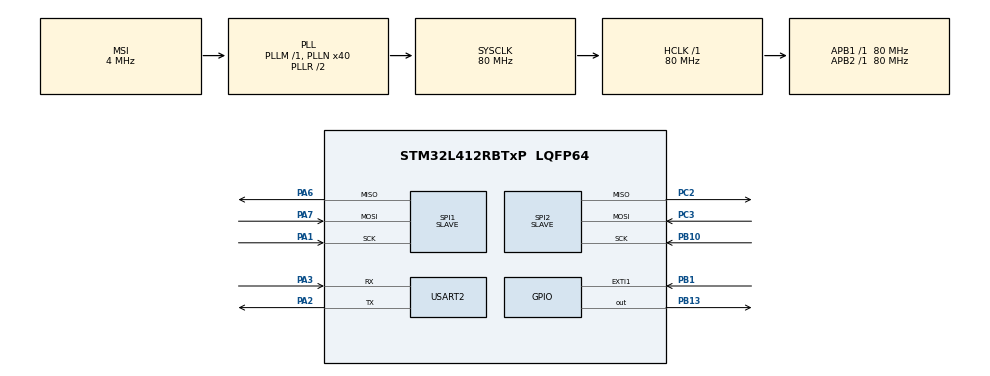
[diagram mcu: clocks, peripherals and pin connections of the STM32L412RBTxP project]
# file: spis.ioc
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Dma.Request0=SPI1_RX
Dma.Request1=SPI1_TX
Dma.Request2=SPI2_RX
Dma.Request3=SPI2_TX
Dma.SPI1_RX.0.Direction=DMA_PERIPH_TO_MEMORY
Dma.SPI1_RX.0.Instance=DMA1_Channel2
Dma.SPI1_RX.0.MemDataAlignment=DMA_MDATAALIGN_BYTE
Dma.SPI1_RX.0.MemInc=DMA_MINC_ENABLE
Dma.SPI1_RX.0.Mode=DMA_NORMAL
Dma.SPI1_RX.0.PeriphDataAlignment=DMA_PDATAALIGN_BYTE
Dma.SPI1_RX.0.PeriphInc=DMA_PINC_DISABLE
Dma.SPI1_RX.0.Priority=DMA_PRIORITY_LOW
Dma.SPI1_TX.1.Direction=DMA_MEMORY_TO_PERIPH
Dma.SPI1_TX.1.Instance=DMA1_Channel3
Dma.SPI1_TX.1.MemDataAlignment=DMA_MDATAALIGN_BYTE
Dma.SPI1_TX.1.MemInc=DMA_MINC_ENABLE
Dma.SPI1_TX.1.Mode=DMA_NORMAL
Dma.SPI1_TX.1.PeriphDataAlignment=DMA_PDATAALIGN_BYTE
Dma.SPI1_TX.1.PeriphInc=DMA_PINC_DISABLE
Dma.SPI1_TX.1.Priority=DMA_PRIORITY_LOW
Dma.SPI2_RX.2.Direction=DMA_PERIPH_TO_MEMORY
Dma.SPI2_RX.2.Instance=DMA1_Channel4
Dma.SPI2_RX.2.MemDataAlignment=DMA_MDATAALIGN_BYTE
Dma.SPI2_RX.2.MemInc=DMA_MINC_ENABLE
Dma.SPI2_RX.2.Mode=DMA_NORMAL
Dma.SPI2_RX.2.PeriphDataAlignment=DMA_PDATAALIGN_BYTE
Dma.SPI2_RX.2.PeriphInc=DMA_PINC_DISABLE
Dma.SPI2_RX.2.Priority=DMA_PRIORITY_LOW
Dma.SPI2_TX.3.Direction=DMA_MEMORY_TO_PERIPH
Dma.SPI2_TX.3.Instance=DMA1_Channel5
Dma.SPI2_TX.3.MemDataAlignment=DMA_MDATAALIGN_BYTE
Dma.SPI2_TX.3.MemInc=DMA_MINC_ENABLE
Dma.SPI2_TX.3.Mode=DMA_NORMAL
Dma.SPI2_TX.3.PeriphDataAlignment=DMA_PDATAALIGN_BYTE
Dma.SPI2_TX.3.PeriphInc=DMA_PINC_DISABLE
Dma.SPI2_TX.3.Priority=DMA_PRIORITY_LOW
Mcu.Family=STM32L4
Mcu.Name=STM32L412RBTxP
Mcu.Package=LQFP64
NVIC.DMA1_Channel2_IRQn=true\:0\:0\:false\:false\:true\:false\:true
NVIC.DMA1_Channel3_IRQn=true\:0\:0\:false\:false\:true\:false\:true
NVIC.DMA1_Channel4_IRQn=true\:0\:0\:false\:false\:true\:false\:true
NVIC.DMA1_Channel5_IRQn=true\:0\:0\:false\:false\:true\:false\:true
NVIC.EXTI1_IRQn=true\:0\:0\:false\:false\:true\:true\:true
NVIC.PriorityGroup=NVIC_PRIORITYGROUP_4
NVIC.SPI1_IRQn=true\:0\:0\:false\:false\:true\:true\:true
NVIC.SPI2_IRQn=true\:0\:0\:false\:false\:true\:true\:true
PA1.Mode=Full_Duplex_Slave
PA1.Signal=SPI1_SCK
PA2.Mode=Asynchronous
PA2.Signal=USART2_TX
PA3.Mode=Asynchronous
PA3.Signal=USART2_RX
PA6.Mode=Full_Duplex_Slave
PA6.Signal=SPI1_MISO
PA7.Mode=Full_Duplex_Slave
PA7.Signal=SPI1_MOSI
PB1.GPIO_ModeDefaultEXTI=GPIO_MODE_IT_FALLING
PB1.Signal=GPXTI1
PB10.Mode=Full_Duplex_Slave
PB10.Signal=SPI2_SCK
PB13.Signal=GPIO_Output
PC14-OSC32_IN\ (PC14).Mode=LSE-External-Oscillator
PC14-OSC32_IN\ (PC14).Signal=RCC_OSC32_IN
PC15-OSC32_OUT\ (PC15).Mode=LSE-External-Oscillator
PC15-OSC32_OUT\ (PC15).Signal=RCC_OSC32_OUT
PC2.Mode=Full_Duplex_Slave
PC2.Signal=SPI2_MISO
PC3.Mode=Full_Duplex_Slave
PC3.Signal=SPI2_MOSI
ProjectManager.HeapSize=0x200
ProjectManager.StackSize=0x400
ProjectManager.TargetToolchain=STM32CubeIDE
RCC.ADCFreq_Value=80000000
RCC.AHBFreq_Value=80000000
RCC.APB1Freq_Value=80000000
RCC.APB1TimFreq_Value=80000000
RCC.APB2Freq_Value=80000000
RCC.APB2TimFreq_Value=80000000
RCC.CortexFreq_Value=80000000
RCC.HCLKFreq_Value=80000000
RCC.HSE_VALUE=8000000
RCC.HSI48_VALUE=48000000
RCC.HSI_VALUE=16000000
RCC.MSI_VALUE=4000000
RCC.PLLN=40
RCC.SYSCLKFreq_VALUE=80000000
RCC.SYSCLKSource=RCC_SYSCLKSOURCE_PLLCLK
RCC.USBFreq_Value=4000000
RCC.VCOOutputFreq_Value=160000000
SPI1.CLKPhase=SPI_PHASE_2EDGE
SPI1.CLKPolarity=SPI_POLARITY_LOW
SPI1.DataSize=SPI_DATASIZE_8BIT
SPI1.Direction=SPI_DIRECTION_2LINES
SPI1.Mode=SPI_MODE_SLAVE
SPI1.VirtualType=VM_SLAVE
SPI2.CLKPhase=SPI_PHASE_2EDGE
SPI2.DataSize=SPI_DATASIZE_8BIT
SPI2.Direction=SPI_DIRECTION_2LINES
SPI2.Mode=SPI_MODE_SLAVE
SPI2.VirtualType=VM_SLAVE
USART2.VirtualMode-Asynchronous=VM_ASYNC
board=custom

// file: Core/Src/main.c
/* USER CODE BEGIN Header */
/**
  ******************************************************************************
  * @file           : main.c
  * @brief          : Main program body
  ******************************************************************************
  * @attention
  *
  * <h2><center>&copy; Copyright (c) 2021 STMicroelectronics.
  * All rights reserved.</center></h2>
  *
  * This software component is licensed by ST under BSD 3-Clause license,
  * the "License"; You may not use this file except in compliance with the
  * License. You may obtain a copy of the License at:
  *                        opensource.org/licenses/BSD-3-Clause
  *
  ******************************************************************************
  */
/* USER CODE END Header */
#include "main.h"
#include "dma.h"
#include "spi.h"
#include "usart.h"
#include "gpio.h"

/* USER CODE BEGIN Includes */
#include "stdio.h"
/* USER CODE END Includes */

/* USER CODE BEGIN PD */
#ifdef __GNUC__
    #define PUTCHAR_PROTOTYPE int __io_putchar(int ch)
#else
    #define PUTCHAR_PROTOTYPE int fputc(int ch, FILE *f)
#endif

PUTCHAR_PROTOTYPE
{
  HAL_UART_Transmit(&huart2, (uint8_t *)&ch, 1, 0xFFFF);
  return ch;
}
/* USER CODE END PD */

/* USER CODE BEGIN PV */
uint8_t tx[20] = {0};
uint8_t rx[20] = {0};
uint8_t cs = 0;
uint8_t busy = 0;
uint8_t rx_flag = 0;
uint8_t tx_flag = 0;
/* USER CODE END PV */

void SystemClock_Config(void);

int main(void)
{

  /* MCU Configuration--------------------------------------------------------*/

  /* Reset of all peripherals, Initializes the Flash interface and the Systick. */
  HAL_Init();

  /* Configure the system clock */
  SystemClock_Config();

  /* Initialize all configured peripherals */
  MX_GPIO_Init();
  MX_DMA_Init();
  MX_SPI1_Init();
  MX_USART2_UART_Init();
  MX_SPI2_Init();

  /* Infinite loop */
  /* USER CODE BEGIN WHILE */
  printf("spis init \r\n");
  for (int i=0;i<20;i++)
  {
	  tx[i] = i+21;
	  rx[i] = i+31;
  }
//	for (int j=0;j<4;j++)
//	{
//		tx[j+4] = 0;
//		rx[j] = 0;
//	}

  printf("==============================init==============================\r\n");
	printf("---------------tx----------------- \r\n");
	for (int i=0;i<20;i++)
	{
	  printf("%d ", tx[i]);
	}
	printf("\r\n");

	printf("---------------rx----------------- \r\n");
	for (int i=0;i<20;i++)
	{
	  printf("%d ", rx[i]);
	}
	printf("\r\n");
  uint32_t cnt = 0;
  while (1)
  {
	if (cnt++ == 2000000)
	{
		HAL_GPIO_TogglePin(GPIOB, GPIO_PIN_13);
		cnt = 0;
	}
    /* USER CODE END WHILE */

    /* USER CODE BEGIN 3 */
	if (cs == 1)
	{
		busy = 1;
		cs = 0;
		if (HAL_SPI_TransmitReceive_DMA(&hspi2, tx, rx, 2) != HAL_OK)
		{
			printf("TR dma fail \r\n");
		}
		else
		{
			printf("TR dma succ \r\n");
		}

//		while (busy)
//		{
//			HAL_Delay(1);
//		}
		printf("exit \r\n");

//		hspi2.State = HAL_SPI_STATE_READY;

	}

	if (cs == 2)
	{
		cs = 0;
		printf("---------------tx----------------- \r\n");
		for (int i=0;i<20;i++)
		{
		  printf("%d ", tx[i]);
		}
		printf("\r\n");

		printf("---------------rx----------------- \r\n");
		for (int i=0;i<20;i++)
		{
		  printf("%d ", rx[i]);
		}
		printf("\r\n");
	}
  }
  /* USER CODE END 3 */
}

void SystemClock_Config(void)
{
  RCC_OscInitTypeDef RCC_OscInitStruct = {0};
  RCC_ClkInitTypeDef RCC_ClkInitStruct = {0};
  RCC_PeriphCLKInitTypeDef PeriphClkInit = {0};

  /** Configure LSE Drive Capability
  */
  HAL_PWR_EnableBkUpAccess();
  __HAL_RCC_LSEDRIVE_CONFIG(RCC_LSEDRIVE_LOW);
  /** Configure the main internal regulator output voltage
  */
  if (HAL_PWREx_ControlVoltageScaling(PWR_REGULATOR_VOLTAGE_SCALE1) != HAL_OK)
  {
    Error_Handler();
  }
  /** Initializes the RCC Oscillators according to the specified parameters
  * in the RCC_OscInitTypeDef structure.
  */
  RCC_OscInitStruct.OscillatorType = RCC_OSCILLATORTYPE_LSE|RCC_OSCILLATORTYPE_MSI;
  RCC_OscInitStruct.LSEState = RCC_LSE_ON;
  RCC_OscInitStruct.MSIState = RCC_MSI_ON;
  RCC_OscInitStruct.MSICalibrationValue = 0;
  RCC_OscInitStruct.MSIClockRange = RCC_MSIRANGE_6;
  RCC_OscInitStruct.PLL.PLLState = RCC_PLL_ON;
  RCC_OscInitStruct.PLL.PLLSource = RCC_PLLSOURCE_MSI;
  RCC_OscInitStruct.PLL.PLLM = 1;
  RCC_OscInitStruct.PLL.PLLN = 40;
  RCC_OscInitStruct.PLL.PLLQ = RCC_PLLQ_DIV2;
  RCC_OscInitStruct.PLL.PLLR = RCC_PLLR_DIV2;
  if (HAL_RCC_OscConfig(&RCC_OscInitStruct) != HAL_OK)
  {
    Error_Handler();
  }
  /** Initializes the CPU, AHB and APB buses clocks
  */
  RCC_ClkInitStruct.ClockType = RCC_CLOCKTYPE_HCLK|RCC_CLOCKTYPE_SYSCLK
                              |RCC_CLOCKTYPE_PCLK1|RCC_CLOCKTYPE_PCLK2;
  RCC_ClkInitStruct.SYSCLKSource = RCC_SYSCLKSOURCE_PLLCLK;
  RCC_ClkInitStruct.AHBCLKDivider = RCC_SYSCLK_DIV1;
  RCC_ClkInitStruct.APB1CLKDivider = RCC_HCLK_DIV1;
  RCC_ClkInitStruct.APB2CLKDivider = RCC_HCLK_DIV1;

  if (HAL_RCC_ClockConfig(&RCC_ClkInitStruct, FLASH_LATENCY_4) != HAL_OK)
  {
    Error_Handler();
  }
  PeriphClkInit.PeriphClockSelection = RCC_PERIPHCLK_USART2;
  PeriphClkInit.Usart2ClockSelection = RCC_USART2CLKSOURCE_PCLK1;
  if (HAL_RCCEx_PeriphCLKConfig(&PeriphClkInit) != HAL_OK)
  {
    Error_Handler();
  }
  /** Enable MSI Auto calibration
  */
  HAL_RCCEx_EnableMSIPLLMode();
}

/* USER CODE BEGIN 4 */
void HAL_SPI_TxRxCpltCallback(SPI_HandleTypeDef *hspi)
{
	printf("txrx CB \r\n");

	busy = 0;
	cs = 2;
}

void HAL_SPI_TxCpltCallback(SPI_HandleTypeDef *hspi)
{
	printf("tx CB \r\n");
	busy = 0;
	cs = 2;
	tx_flag = 0;
}

void HAL_SPI_RxCpltCallback(SPI_HandleTypeDef *hspi)
{
	printf("rx CB \r\n");
	if (rx[0]==4)
	{
		rx_flag = 0;
		tx_flag = 1;
	}
}

void HAL_GPIO_EXTI_Callback(uint16_t GPIO_Pin)
{
	if (GPIO_Pin == GPIO_PIN_1)
	{
		printf("ss! \r\n");
		cs = 1;
		rx_flag = 1;
	}
	return;
}

void HAL_SPI_ErrorCallback(SPI_HandleTypeDef *hspi)
{
	HAL_SPI_StateTypeDef state = HAL_SPI_GetState(hspi);
	uint32_t code = HAL_SPI_GetError(hspi);
	printf("spi error \r\n state : %d / error code : %ld \r\n", state, code);
	busy = 0;
}

/* USER CODE END 4 */

void Error_Handler(void)
{
  /* USER CODE BEGIN Error_Handler_Debug */
  /* User can add his own implementation to report the HAL error return state */
  printf("error !!! \r\n");
	__disable_irq();
  while (1)
  {
  }
  /* USER CODE END Error_Handler_Debug */
}

/************************ (C) COPYRIGHT STMicroelectronics *****END OF FILE****/
